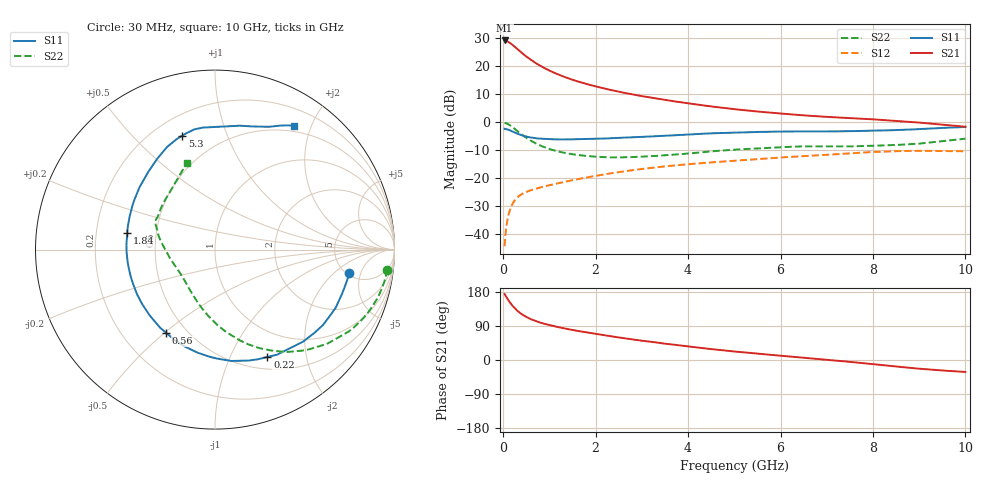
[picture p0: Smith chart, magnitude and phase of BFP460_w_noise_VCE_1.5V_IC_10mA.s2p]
! (c) 2016  Infineon Technologies AG, Munich
! Infineon Technologies  Discrete & RF Semiconductors
! BFP460
! VCE =  1.5 V,  IC =  10 mA
! Common Emitter S-Parameters:  Jan 2016
# GHz  S  MA  R  50
!  f  S11  S21  S12  S22
! GHz  MAG  ANG  MAG  ANG  MAG  ANG  MAG  ANG
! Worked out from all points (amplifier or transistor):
!   229 points, 30 MHz to 10 GHz, reference 50 ohm
!   highest |S21| = 29.1 dB at 30 MHz (marker M1)
!   |S21| within 3 dB of that: start of sweep to 302.9 MHz
!   unconditionally stable (mu >= 1): 2.399 GHz to 8.96 GHz
!   at 280 MHz: K = 0.27, MSG = 26.9 dB, |S12| = -27.4 dB
!   at 1.78 GHz: K = 0.93, MSG = 16.8 dB, |S12| = -19.8 dB
!   at 10 GHz: K = 0.99, MSG = 4.4 dB, |S12| = -10.4 dB
!   lowest NFmin = 0.95 dB at 450 MHz
!   S11 on the Smith chart (normalised r, x): 30 MHz: 5.32, -3.23; 220 MHz: 0.65, -1.39; 560 MHz: 0.39, -0.50; 1.84 GHz: 0.34, +0.08; 5.3 GHz: 0.31, +0.71; 10 GHz: 0.42, +1.74
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0.03  0.76 -9.7  28.67 174.2  0.0061 85.1  0.9669 -6.6
0.07  0.7471 -22.6  28.17 165.3  0.0141 79.2  0.9485 -15.4
0.12  0.7272 -37.7  26.78 156.3  0.023 72.4  0.906 -25.7
0.15  0.7102 -46.1  25.74 151.0  0.0277 68.3  0.8737 -31.5
0.2  0.6801 -59.4  24 143.2  0.0346 62.9  0.815 -40.2
0.22  0.6656 -64.0  23.22 140.6  0.0368 61.0  0.7897 -43.1
0.3  0.6269 -81.7  20.39 130.5  0.0448 54.9  0.6987 -54.7
0.38  0.5894 -96.0  17.87 122.7  0.0504 50.7  0.6186 -63.7
0.45  0.5663 -107.0  15.98 117.0  0.0544 48.1  0.5597 -70.6
0.56  0.5375 -120.5  13.64 110.2  0.0593 45.7  0.4871 -79.0
0.7  0.5165 -134.8  11.35 102.8  0.0646 43.9  0.4182 -88.5
1  0.4956 -156.0  8.307 92.0  0.0747 43.3  0.3309 -103.3
1.3  0.4917 -170.9  6.516 83.8  0.0848 43.5  0.2857 -114.6
1.7  0.4948 174.1  5.061 74.9  0.0989 43.6  0.2538 -126.6
1.84  0.4983 169.5  4.695 72.1  0.104 43.5  0.2473 -130.4
2.6  0.5271 149.0  3.354 57.7  0.1317 41.0  0.2349 -150.1
3.4  0.5651 132.3  2.564 44.8  0.1588 36.6  0.2524 -167.5
5.1  0.6545 108.1  1.668 21.4  0.2072 26.8  0.3258 165.4
5.3  0.6605 106.0  1.605 19.2  0.2133 25.6  0.3318 163.6
6.8  0.6822 92.7  1.27 2.7  0.2551 16.3  0.3686 153.7
8.4  0.7163 73.4  1.065 -15.9  0.3014 3.1  0.388 137.6
10  0.8188 57.6  0.826 -31.5  0.3018 -9.0  0.5062 108.1
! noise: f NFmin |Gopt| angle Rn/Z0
0.45  0.95  0.14  16  0.15
0.9  1.19  0.09  60  0.13
1.9  1.15  0.07  152  0.12
3.5  1.18  0.34  -137  0.11
